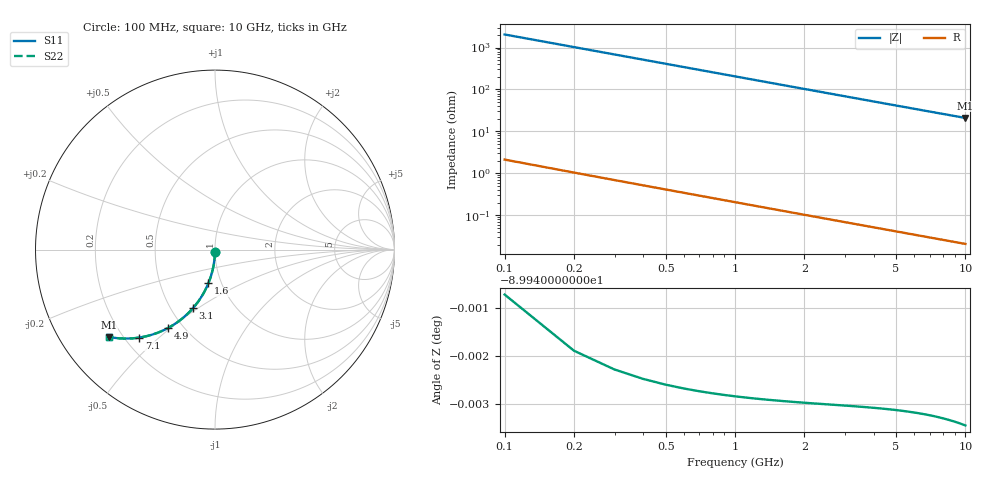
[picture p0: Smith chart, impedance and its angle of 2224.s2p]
# Hz S RI R 50.00
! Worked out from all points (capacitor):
!   100 points, 100 MHz to 10 GHz, reference 50 ohm
!   read as one part in shunt: C = 775 fF near 100 MHz
!   lowest |Z| = 20.9 ohm at 10 GHz (marker M1)
!   S11 on the Smith chart (normalised r, x): 100 MHz: 1.00, -0.02; 1.6 GHz: 0.87, -0.34; 3.1 GHz: 0.64, -0.48; 4.9 GHz: 0.42, -0.49; 7.1 GHz: 0.26, -0.43; 10 GHz: 0.15, -0.35
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1e8  -0.000153 -0.0121  0.9998 -0.0122  0.9998 -0.0122  -0.000153 -0.0121
2e8  -0.00061 -0.0242  0.9994 -0.0244  0.9994 -0.0244  -0.00061 -0.0242
3e8  -0.00136 -0.0363  0.9986 -0.0366  0.9986 -0.0366  -0.00136 -0.0363
4e8  -0.00241 -0.0484  0.9976 -0.0487  0.9976 -0.0487  -0.00241 -0.0484
5e8  -0.00374 -0.0604  0.9962 -0.0608  0.9962 -0.0608  -0.00374 -0.0604
6e8  -0.00537 -0.0723  0.9946 -0.0729  0.9946 -0.0729  -0.00537 -0.0723
7e8  -0.00728 -0.0842  0.9927 -0.0848  0.9927 -0.0848  -0.00728 -0.0842
9e8  -0.0119 -0.1077  0.988 -0.1085  0.988 -0.1085  -0.0119 -0.1077
1.2e9  -0.021 -0.1423  0.979 -0.1433  0.979 -0.1433  -0.021 -0.1423
1.6e9  -0.0366 -0.1865  0.9634 -0.1879  0.9634 -0.1879  -0.0366 -0.1865
1.8e9  -0.0458 -0.2077  0.9542 -0.2093  0.9542 -0.2093  -0.0458 -0.2077
2.4e9  -0.0784 -0.2672  0.9216 -0.2693  0.9216 -0.2693  -0.0784 -0.2672
3.1e9  -0.1238 -0.3275  0.8761 -0.3303  0.8761 -0.3303  -0.1238 -0.3275
3.4e9  -0.1451 -0.3502  0.8548 -0.3533  0.8548 -0.3533  -0.1451 -0.3502
4.1e9  -0.1975 -0.3958  0.8024 -0.3995  0.8024 -0.3995  -0.1975 -0.3958
4.9e9  -0.2596 -0.4357  0.7404 -0.4401  0.7404 -0.4401  -0.2596 -0.4357
5.1e9  -0.2751 -0.4437  0.7249 -0.4484  0.7249 -0.4484  -0.2751 -0.4437
5.9e9  -0.3362 -0.4692  0.6638 -0.4746  0.6638 -0.4746  -0.3362 -0.4692
6.7e9  -0.3945 -0.4852  0.6054 -0.4914  0.6054 -0.4914  -0.3945 -0.4852
7.1e9  -0.4223 -0.4901  0.5777 -0.4967  0.5777 -0.4967  -0.4223 -0.4901
8.4e9  -0.5049 -0.4956  0.495 -0.5034  0.495 -0.5034  -0.5049 -0.4956
1e10  -0.5904 -0.4866  0.4096 -0.496  0.4096 -0.496  -0.5904 -0.4866
